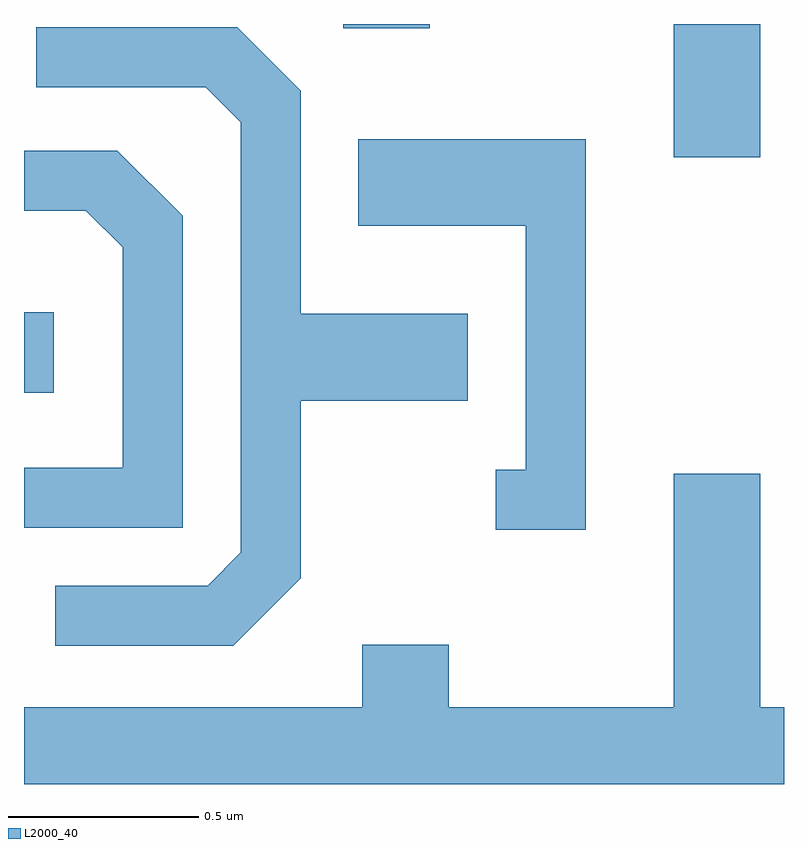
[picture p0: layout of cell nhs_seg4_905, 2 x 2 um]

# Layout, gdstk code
import gdstk
lib = gdstk.Library(unit=1e-6, precision=1e-09)
def R(c, l, rs):  # rectangles x0, y0, x1, y1
    for r in rs: c.add(gdstk.rectangle(r[:2], r[2:], *l))
def P(c, l, *ps):  # polygons
    for p in ps: c.add(gdstk.Polygon(p, *l))
L2000_40 = (2000, 40)

nhs_seg4_905 = lib.new_cell('nhs_seg4_905')
R(nhs_seg4_905, L2000_40, [(191.611,1338.011,191.689,1338.224), (193.321,1338.631,193.549,1338.982), (192.451,1338.971,192.679,1338.982)])
P(nhs_seg4_905, L2000_40, [(192.339,1337.524),(192.339,1337.991),(192.779,1337.991),(192.779,1338.219),(192.339,1338.219),(192.339,1338.807),(192.172,1338.974),(191.643,1338.974),(191.643,1338.816),(192.089,1338.816),(192.181,1338.724),(192.181,1337.592),(192.094,1337.504),(191.693,1337.504),(191.693,1337.346),(192.162,1337.346)],
  [(193.089,1338.679),(192.491,1338.679),(192.491,1338.451),(192.931,1338.451),(192.931,1337.809),(192.853,1337.809),(192.853,1337.651),(193.089,1337.651)],
  [(192.029,1338.477),(191.857,1338.649),(191.611,1338.649),(191.611,1338.491),(191.774,1338.491),(191.871,1338.394),(191.871,1337.814),(191.611,1337.814),(191.611,1337.656),(192.029,1337.656)],
  [(193.611,1337.184),(193.549,1337.184),(193.549,1337.799),(193.321,1337.799),(193.321,1337.184),(192.729,1337.184),(192.729,1337.349),(192.501,1337.349),(192.501,1337.184),(191.611,1337.184),(191.611,1336.982),(193.611,1336.982)])

lib.write_gds('nhs_seg4_905.gds')
